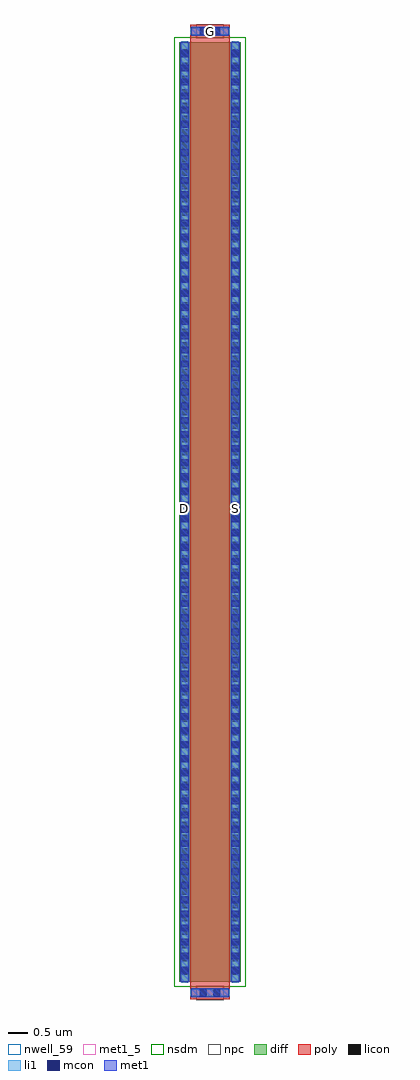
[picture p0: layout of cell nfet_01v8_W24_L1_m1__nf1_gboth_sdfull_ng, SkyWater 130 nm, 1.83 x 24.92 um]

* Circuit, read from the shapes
.subckt nfet_01v8_W24_L1_m1__nf1_gboth_sdfull_ng B D G S
XM1 S G D B sky130_fd_pr__nfet_01v8 w=24 l=1
.ends

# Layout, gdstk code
import gdstk
lib = gdstk.Library(unit=1e-6, precision=1e-09)
def R(c, l, rs):  # rectangles x0, y0, x1, y1
    for r in rs: c.add(gdstk.rectangle(r[:2], r[2:], *l))
def A(c, l, x, y, w, h, nx, ny, dx, dy):  # array of equal rectangles
    R(c, l, [(x+i*dx, y+j*dy, x+i*dx+w, y+j*dy+h) for i in range(nx) for j in range(ny)])
nwell_59 = (64, 59)
diff = (65, 20)
poly = (66, 20)
licon = (66, 44)
li1 = (67, 20)
mcon = (67, 44)
met1_5 = (68, 5)
met1 = (68, 20)
nsdm = (93, 44)
npc = (95, 20)

sky130_fd_pr__nfet_01v8_ = lib.new_cell('sky130_fd_pr__nfet_01v8_5VM7HL')
R(sky130_fd_pr__nfet_01v8_, diff, [(-0.79,-12,0.79,12)])
R(sky130_fd_pr__nfet_01v8_, poly, [(-0.5,-12.44,0.5,12.44)])
A(sky130_fd_pr__nfet_01v8_, licon, -0.73, -11.815, 0.17, 0.17, 1, 70, 0, 0.34)
A(sky130_fd_pr__nfet_01v8_, licon, 0.56, -11.815, 0.17, 0.17, 1, 70, 0, 0.34)
R(sky130_fd_pr__nfet_01v8_, licon, [(-0.255,-12.36,-0.085,-12.19), (0.085,-12.36,0.255,-12.19), (-0.255,12.19,-0.085,12.36), (0.085,12.19,0.255,12.36)])
R(sky130_fd_pr__nfet_01v8_, li1, [(-0.5,-12.36,0.5,-12.19), (-0.73,-12.02,-0.56,12.02), (0.56,-12.02,0.73,12.02), (-0.5,12.19,0.5,12.36)])
A(sky130_fd_pr__nfet_01v8_, mcon, -0.73, -11.785, 0.17, 0.17, 1, 66, 0, 0.36)
A(sky130_fd_pr__nfet_01v8_, mcon, 0.56, -11.785, 0.17, 0.17, 1, 66, 0, 0.36)
R(sky130_fd_pr__nfet_01v8_, mcon, [(-0.265,-12.36,-0.095,-12.19), (0.095,-12.36,0.265,-12.19), (-0.265,12.19,-0.095,12.36), (0.095,12.19,0.265,12.36)])
R(sky130_fd_pr__nfet_01v8_, met1, [(-0.48,-12.39,0.48,-12.16), (-0.76,-12,-0.53,12), (0.53,-12,0.76,12), (-0.48,12.16,0.48,12.39)])
R(sky130_fd_pr__nfet_01v8_, nsdm, [(-0.915,-12.125,0.915,12.125)])
R(sky130_fd_pr__nfet_01v8_, npc, [(-0.355,-12.46,0.355,-12.09), (-0.355,12.09,0.355,12.46)])
sky130_fd_pr__nfet_01v8_.add(gdstk.Label('D', (-0.645,0), layer=67, texttype=5))
sky130_fd_pr__nfet_01v8_.add(gdstk.Label('S', (0.645,0), layer=67, texttype=5))
sky130_fd_pr__nfet_01v8_.add(gdstk.Label('G', (0,12.275), layer=67, texttype=5))

nfet_01v8_w24_l1_m1__nf1 = lib.new_cell('nfet_01v8_W24_L1_m1__nf1_gboth_sdfull_ng')
R(nfet_01v8_w24_l1_m1__nf1, nwell_59, [(0.05,12.39,0.15,12.49)])
R(nfet_01v8_w24_l1_m1__nf1, met1_5, [(0.03,12.44,0.26,12.64), (1.32,12.44,1.55,12.64), (0.31,24.6,1.27,24.83)])
R(nfet_01v8_w24_l1_m1__nf1, met1, [(0.03,12.44,0.26,12.64), (1.32,12.44,1.55,12.64), (0.31,24.6,1.27,24.83)])
nfet_01v8_w24_l1_m1__nf1.add(gdstk.Reference(sky130_fd_pr__nfet_01v8_, (0.79,12.44)))
nfet_01v8_w24_l1_m1__nf1.add(gdstk.Label('D', (0.145,12.54), layer=68, texttype=5))
nfet_01v8_w24_l1_m1__nf1.add(gdstk.Label('S', (1.435,12.54), layer=68, texttype=5))
nfet_01v8_w24_l1_m1__nf1.add(gdstk.Label('G', (0.79,24.715), layer=68, texttype=5))
nfet_01v8_w24_l1_m1__nf1.add(gdstk.Label('B', (0.1,12.44), layer=64, texttype=59))

lib.write_gds('nfet_01v8_W24_L1_m1__nf1_gboth_sdfull_ng.gds')
